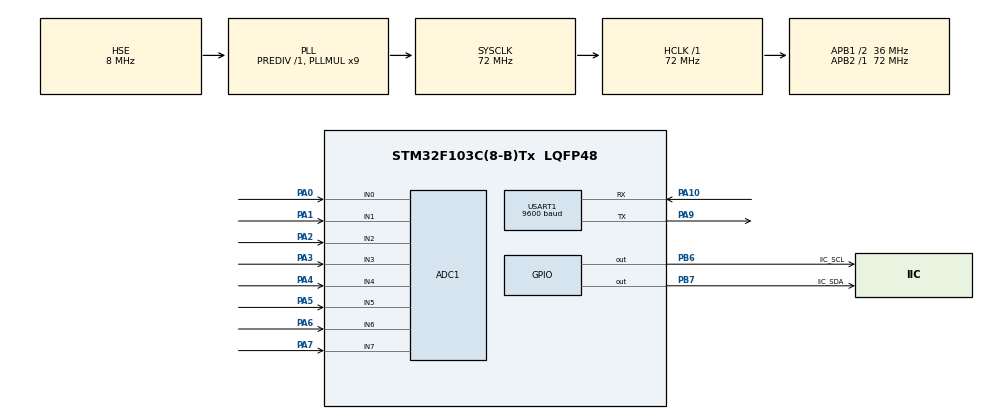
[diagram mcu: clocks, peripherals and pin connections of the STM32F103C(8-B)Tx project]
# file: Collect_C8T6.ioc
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ADC1.Channel-0\#ChannelRegularConversion=ADC_CHANNEL_0
ADC1.Channel-1\#ChannelRegularConversion=ADC_CHANNEL_1
ADC1.Channel-2\#ChannelRegularConversion=ADC_CHANNEL_2
ADC1.Channel-3\#ChannelRegularConversion=ADC_CHANNEL_3
ADC1.Channel-4\#ChannelRegularConversion=ADC_CHANNEL_4
ADC1.Channel-5\#ChannelRegularConversion=ADC_CHANNEL_5
ADC1.Channel-6\#ChannelRegularConversion=ADC_CHANNEL_6
ADC1.Channel-7\#ChannelRegularConversion=ADC_CHANNEL_7
ADC1.ContinuousConvMode=ENABLE
ADC1.NbrOfConversion=8
ADC1.NbrOfConversionFlag=1
ADC1.Rank-0\#ChannelRegularConversion=1
ADC1.Rank-1\#ChannelRegularConversion=2
ADC1.Rank-2\#ChannelRegularConversion=3
ADC1.Rank-3\#ChannelRegularConversion=4
ADC1.Rank-4\#ChannelRegularConversion=5
ADC1.Rank-5\#ChannelRegularConversion=6
ADC1.Rank-6\#ChannelRegularConversion=7
ADC1.Rank-7\#ChannelRegularConversion=8
ADC1.SamplingTime-0\#ChannelRegularConversion=ADC_SAMPLETIME_13CYCLES_5
ADC1.SamplingTime-1\#ChannelRegularConversion=ADC_SAMPLETIME_13CYCLES_5
ADC1.SamplingTime-2\#ChannelRegularConversion=ADC_SAMPLETIME_13CYCLES_5
ADC1.SamplingTime-3\#ChannelRegularConversion=ADC_SAMPLETIME_13CYCLES_5
ADC1.SamplingTime-4\#ChannelRegularConversion=ADC_SAMPLETIME_13CYCLES_5
ADC1.SamplingTime-5\#ChannelRegularConversion=ADC_SAMPLETIME_13CYCLES_5
ADC1.SamplingTime-6\#ChannelRegularConversion=ADC_SAMPLETIME_13CYCLES_5
ADC1.SamplingTime-7\#ChannelRegularConversion=ADC_SAMPLETIME_13CYCLES_5
ADC1.master=1
Dma.ADC1.0.Direction=DMA_PERIPH_TO_MEMORY
Dma.ADC1.0.Instance=DMA1_Channel1
Dma.ADC1.0.MemDataAlignment=DMA_MDATAALIGN_WORD
Dma.ADC1.0.MemInc=DMA_MINC_ENABLE
Dma.ADC1.0.Mode=DMA_CIRCULAR
Dma.ADC1.0.PeriphDataAlignment=DMA_PDATAALIGN_WORD
Dma.ADC1.0.PeriphInc=DMA_PINC_DISABLE
Dma.ADC1.0.Priority=DMA_PRIORITY_VERY_HIGH
Dma.Request0=ADC1
Mcu.Family=STM32F1
Mcu.Name=STM32F103C(8-B)Tx
Mcu.Package=LQFP48
NVIC.DMA1_Channel1_IRQn=true\:0\:0\:false\:false\:true\:false\:true
NVIC.PriorityGroup=NVIC_PRIORITYGROUP_4
NVIC.TIM2_IRQn=true\:0\:0\:false\:false\:true\:true\:true
NVIC.USART1_IRQn=true\:0\:0\:false\:false\:true\:true\:true
PA0-WKUP.Signal=ADCx_IN0
PA1.Signal=ADCx_IN1
PA10.Mode=Asynchronous
PA10.Signal=USART1_RX
PA13.Mode=Serial_Wire
PA13.Signal=SYS_JTMS-SWDIO
PA14.Mode=Serial_Wire
PA14.Signal=SYS_JTCK-SWCLK
PA2.Signal=ADCx_IN2
PA3.Signal=ADCx_IN3
PA4.Signal=ADCx_IN4
PA5.Signal=ADCx_IN5
PA6.Signal=ADCx_IN6
PA7.Signal=ADCx_IN7
PA9.Mode=Asynchronous
PA9.Signal=USART1_TX
PB6.GPIO_Label=IIC_SCL
PB6.GPIO_ModeDefaultOutputPP=GPIO_MODE_OUTPUT_OD
PB6.GPIO_PuPd=GPIO_PULLUP
PB6.GPIO_Speed=GPIO_SPEED_FREQ_HIGH
PB6.PinState=GPIO_PIN_SET
PB6.Signal=GPIO_Output
PB7.GPIO_Label=IIC_SDA
PB7.GPIO_ModeDefaultOutputPP=GPIO_MODE_OUTPUT_OD
PB7.GPIO_PuPd=GPIO_PULLUP
PB7.GPIO_Speed=GPIO_SPEED_FREQ_HIGH
PB7.PinState=GPIO_PIN_SET
PB7.Signal=GPIO_Output
PC14-OSC32_IN.Mode=LSE-External-Oscillator
PC14-OSC32_IN.Signal=RCC_OSC32_IN
PC15-OSC32_OUT.Mode=LSE-External-Oscillator
PC15-OSC32_OUT.Signal=RCC_OSC32_OUT
PD0-OSC_IN.Mode=HSE-External-Oscillator
PD0-OSC_IN.Signal=RCC_OSC_IN
PD1-OSC_OUT.Mode=HSE-External-Oscillator
PD1-OSC_OUT.Signal=RCC_OSC_OUT
ProjectManager.HeapSize=0x200
ProjectManager.StackSize=0x400
ProjectManager.TargetToolchain=STM32CubeIDE
RCC.ADCPresc=RCC_ADCPCLK2_DIV6
RCC.AHBFreq_Value=72000000
RCC.APB1CLKDivider=RCC_HCLK_DIV2
RCC.APB1Freq_Value=36000000
RCC.APB1TimFreq_Value=72000000
RCC.APB2Freq_Value=72000000
RCC.APB2TimFreq_Value=72000000
RCC.HCLKFreq_Value=72000000
RCC.PLLMUL=RCC_PLL_MUL9
RCC.PLLSourceVirtual=RCC_PLLSOURCE_HSE
RCC.SYSCLKFreq_VALUE=72000000
RCC.SYSCLKSource=RCC_SYSCLKSOURCE_PLLCLK
RCC.USBFreq_Value=72000000
SH.ADCx_IN0.0=ADC1_IN0,IN0
SH.ADCx_IN1.0=ADC1_IN1,IN1
SH.ADCx_IN2.0=ADC1_IN2,IN2
SH.ADCx_IN3.0=ADC1_IN3,IN3
SH.ADCx_IN4.0=ADC1_IN4,IN4
SH.ADCx_IN5.0=ADC1_IN5,IN5
SH.ADCx_IN6.0=ADC1_IN6,IN6
SH.ADCx_IN7.0=ADC1_IN7,IN7
TIM2.AutoReloadPreload=TIM_AUTORELOAD_PRELOAD_ENABLE
TIM2.Period=4999
TIM2.Prescaler=3599
USART1.BaudRate=9600
USART1.VirtualMode=VM_ASYNC
VP_TIM2_VS_ClockSourceINT.Mode=Internal
board=custom

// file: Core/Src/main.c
/* USER CODE BEGIN Header */
/**
  ******************************************************************************
  * @file           : main.c
  * @brief          : Main program body
  ******************************************************************************
  * @attention
  *
  * Copyright (c) 2022 STMicroelectronics.
  * All rights reserved.
  *
  * This software is licensed under terms that can be found in the LICENSE file
  * in the root directory of this software component.
  * If no LICENSE file comes with this software, it is provided AS-IS.
  *
  ******************************************************************************
  */
/* USER CODE END Header */
#include "main.h"
#include "adc.h"
#include "dma.h"
#include "tim.h"
#include "usart.h"
#include "gpio.h"

/* USER CODE BEGIN Includes */
#include "IIC_User.h"
#include <stdio.h>
#include <strings.h>
/* USER CODE END Includes */

void SystemClock_Config(void);
/* USER CODE BEGIN PFP */
uint16_t Average(uint32_t*arr,uint16_t length,uint16_t MODE)
{int16_t i;
 uint16_t sum=0.0;
 for(i=MODE;i<length;i+=8)
 {
	 sum+=arr[i];
 }
 return (sum/5);

};
uint32_t ARR1[40]={0};
uint8_t TransFlag[5]={0};
uint64_t ARR3[8]={0};
uint16_t Volt[8]={0};
uint16_t TEST[8]={1,2,3,4,5,6,7,8};
char LED_USE[40]={0};
unsigned char flag=0;
/* USER CODE END PFP */

/* USER CODE BEGIN 0 */
/*void HAL_TIM_PeriodElapsedCallback(TIM_HandleTypeDef *htim)
  {
   if(htim->Instance==TIM2)
   {
    if(HAL_ADC_PollForConversion(&hadc2, 100)==HAL_OK)
	 {ARR2[flag]=HAL_ADC_GetValue(&hadc2);
      flag++;}
     flag%=17;

   }

  }*/
void HAL_UART_RxCpltCallback(UART_HandleTypeDef *huart)
{ if(huart->Instance==USART1)
   {
	if(TransFlag[0]=='1')
     {
       HAL_UART_Transmit_IT(&huart1,(uint8_t*)Volt, 16);
	 }
	else {
		HAL_UART_Transmit_IT(&huart1,"Error!", 7);
	}
   }
     HAL_UART_Receive_IT(&huart1,TransFlag,5);

}
/* USER CODE END 0 */

int main(void)
{

  /* MCU Configuration--------------------------------------------------------*/

  /* Reset of all peripherals, Initializes the Flash interface and the Systick. */
  HAL_Init();

  /* Configure the system clock */
  SystemClock_Config();

  /* Initialize all configured peripherals */
  MX_GPIO_Init();
  MX_DMA_Init();
  MX_TIM2_Init();
  MX_ADC1_Init();
  MX_USART1_UART_Init();
  /* USER CODE BEGIN 2 */
  HAL_UART_Receive_IT(&huart1,TransFlag,5);
  HAL_ADCEx_Calibration_Start(&hadc1);
  HAL_ADC_Start_DMA(&hadc1, ARR1, 40);
  OLED_Init();
  OLED_clean_OLED();

  /* USER CODE END 2 */

  /* Infinite loop */
  /* USER CODE BEGIN WHILE */
  while (1)
  {   OLED_display();

    for(int i=0;i<8;i++)
    {
    	ARR3[i]=Average(ARR1, 40, i);
    }
    for(int i=0;i<8;i++)
        {
        	Volt[i]=ARR3[i]*330/4096.0;
        }
    for(int i=0;i<4;i++)
        {sprintf(LED_USE,"V%d:%1d.%d%d",i,Volt[i]/100,Volt[i]%100/10,Volt[i]%10);
          OLED_ShowString(i+1,1,LED_USE);

        }
    for(int i=0;i<4;i++)
           {sprintf(LED_USE,"V%d:%1d.%d%d",i+4,Volt[i+4]/100,Volt[i+4]%100/10,Volt[i+4]%10);
             OLED_ShowString(i+1,9,LED_USE);

           }

    /* USER CODE END WHILE */

  }
}

void SystemClock_Config(void)
{
  RCC_OscInitTypeDef RCC_OscInitStruct = {0};
  RCC_ClkInitTypeDef RCC_ClkInitStruct = {0};
  RCC_PeriphCLKInitTypeDef PeriphClkInit = {0};

  /** Initializes the RCC Oscillators according to the specified parameters
  * in the RCC_OscInitTypeDef structure.
  */
  RCC_OscInitStruct.OscillatorType = RCC_OSCILLATORTYPE_HSE;
  RCC_OscInitStruct.HSEState = RCC_HSE_ON;
  RCC_OscInitStruct.HSEPredivValue = RCC_HSE_PREDIV_DIV1;
  RCC_OscInitStruct.HSIState = RCC_HSI_ON;
  RCC_OscInitStruct.PLL.PLLState = RCC_PLL_ON;
  RCC_OscInitStruct.PLL.PLLSource = RCC_PLLSOURCE_HSE;
  RCC_OscInitStruct.PLL.PLLMUL = RCC_PLL_MUL9;
  if (HAL_RCC_OscConfig(&RCC_OscInitStruct) != HAL_OK)
  {
    Error_Handler();
  }
  /** Initializes the CPU, AHB and APB buses clocks
  */
  RCC_ClkInitStruct.ClockType = RCC_CLOCKTYPE_HCLK|RCC_CLOCKTYPE_SYSCLK
                              |RCC_CLOCKTYPE_PCLK1|RCC_CLOCKTYPE_PCLK2;
  RCC_ClkInitStruct.SYSCLKSource = RCC_SYSCLKSOURCE_PLLCLK;
  RCC_ClkInitStruct.AHBCLKDivider = RCC_SYSCLK_DIV1;
  RCC_ClkInitStruct.APB1CLKDivider = RCC_HCLK_DIV2;
  RCC_ClkInitStruct.APB2CLKDivider = RCC_HCLK_DIV1;

  if (HAL_RCC_ClockConfig(&RCC_ClkInitStruct, FLASH_LATENCY_2) != HAL_OK)
  {
    Error_Handler();
  }
  PeriphClkInit.PeriphClockSelection = RCC_PERIPHCLK_ADC;
  PeriphClkInit.AdcClockSelection = RCC_ADCPCLK2_DIV6;
  if (HAL_RCCEx_PeriphCLKConfig(&PeriphClkInit) != HAL_OK)
  {
    Error_Handler();
  }
}

void Error_Handler(void)
{
  __disable_irq();
  while (1)
  {
  }
}
